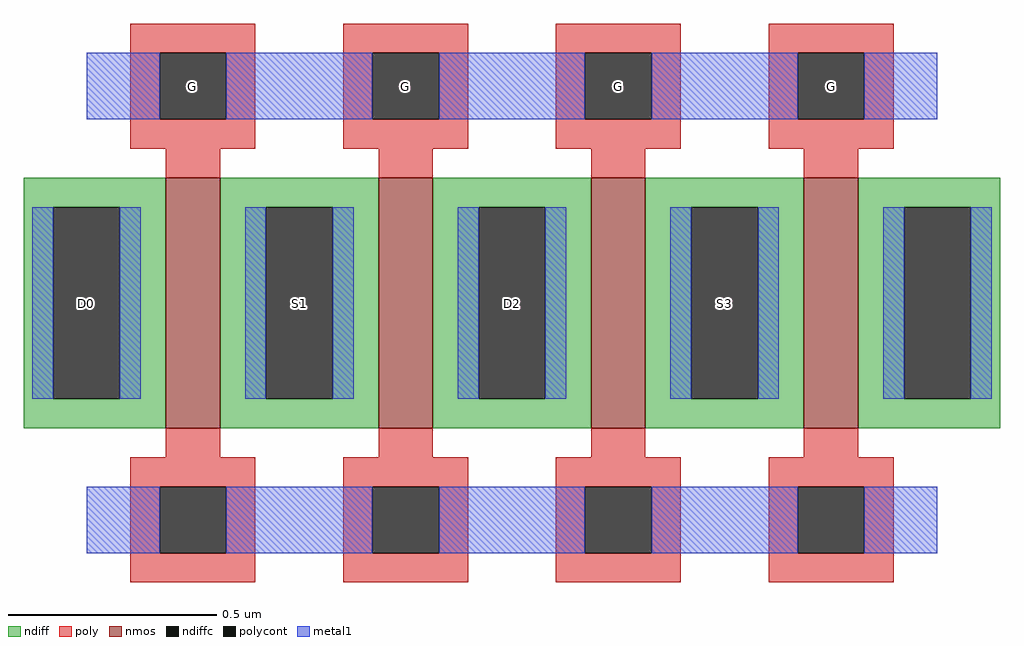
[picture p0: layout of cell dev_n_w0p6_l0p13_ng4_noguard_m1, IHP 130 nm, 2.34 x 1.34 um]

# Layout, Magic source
magic
tech ihp-sg13cmos5l
magscale 1 2
<< nmos >>
rect -166 -60 -140 60
rect -64 -60 -38 60
rect 38 -60 64 60
rect 140 -60 166 60
<< ndiff >>
rect -234 46 -166 60
rect -234 -46 -220 46
rect -188 -46 -166 46
rect -234 -60 -166 -46
rect -140 46 -64 60
rect -140 -46 -118 46
rect -86 -46 -64 46
rect -140 -60 -64 -46
rect -38 46 38 60
rect -38 -46 -16 46
rect 16 -46 38 46
rect -38 -60 38 -46
rect 64 46 140 60
rect 64 -46 86 46
rect 118 -46 140 46
rect 64 -60 140 -46
rect 166 46 234 60
rect 166 -46 188 46
rect 220 -46 234 46
rect 166 -60 234 -46
<< ndiffc >>
rect -220 -46 -188 46
rect -118 -46 -86 46
rect -16 -46 16 46
rect 86 -46 118 46
rect 188 -46 220 46
<< poly >>
rect -183 120 -123 134
rect -183 88 -169 120
rect -137 88 -123 120
rect -183 74 -123 88
rect -81 120 -21 134
rect -81 88 -67 120
rect -35 88 -21 120
rect -81 74 -21 88
rect 21 120 81 134
rect 21 88 35 120
rect 67 88 81 120
rect 21 74 81 88
rect 123 120 183 134
rect 123 88 137 120
rect 169 88 183 120
rect 123 74 183 88
rect -166 60 -140 74
rect -64 60 -38 74
rect 38 60 64 74
rect 140 60 166 74
rect -166 -74 -140 -60
rect -64 -74 -38 -60
rect 38 -74 64 -60
rect 140 -74 166 -60
rect -183 -88 -123 -74
rect -183 -120 -169 -88
rect -137 -120 -123 -88
rect -183 -134 -123 -120
rect -81 -88 -21 -74
rect -81 -120 -67 -88
rect -35 -120 -21 -88
rect -81 -134 -21 -120
rect 21 -88 81 -74
rect 21 -120 35 -88
rect 67 -120 81 -88
rect 21 -134 81 -120
rect 123 -88 183 -74
rect 123 -120 137 -88
rect 169 -120 183 -88
rect 123 -134 183 -120
<< polycont >>
rect -169 88 -137 120
rect -67 88 -35 120
rect 35 88 67 120
rect 137 88 169 120
rect -169 -120 -137 -88
rect -67 -120 -35 -88
rect 35 -120 67 -88
rect 137 -120 169 -88
<< metal1 >>
rect -204 88 -169 120
rect -137 88 -67 120
rect -35 88 35 120
rect 67 88 137 120
rect 169 88 204 120
rect -230 -46 -220 46
rect -188 -46 -178 46
rect -128 -46 -118 46
rect -86 -46 -76 46
rect -26 -46 -16 46
rect 16 -46 26 46
rect 76 -46 86 46
rect 118 -46 128 46
rect 178 -46 188 46
rect 220 -46 230 46
rect -204 -120 -169 -88
rect -137 -120 -67 -88
rect -35 -120 35 -88
rect 67 -120 137 -88
rect 169 -120 204 -88
<< labels >>
rlabel ndiffc -204 0 -204 0 0 D0
port 1 nsew
rlabel polycont -153 104 -153 104 0 G
port 2 nsew
rlabel ndiffc -102 0 -102 0 0 S1
port 3 nsew
rlabel polycont -51 104 -51 104 0 G
port 2 nsew
rlabel ndiffc 0 0 0 0 0 D2
port 4 nsew
rlabel polycont 51 104 51 104 0 G
port 2 nsew
rlabel ndiffc 102 0 102 0 0 S3
port 5 nsew
rlabel polycont 153 104 153 104 0 G
port 2 nsew
<< properties >>
string gencell sg13_lv_nmos
string library sg13cmos5l
string parameters w 0.6 l 0.13 m 1 ng 4 diffcov 100 polycov 100 guard 0 glc 1 grc 1 gtc 1 gbc 1 tbcov 100 rlcov 100 topc 1 botc 1 poverlap 0 doverlap 1 lmin 0.13 wmin 0.15 class mosfet compatible {sg13_lv_nmos sg13_hv_nmos} full_metal 1 conn_gates 1 gate_ring 0 doports 1 viasrc 0 viadrn 0 viagate 0 ccols 1 viagb 0 viagr 0 viagl 0 viagt 0
<< end >>
